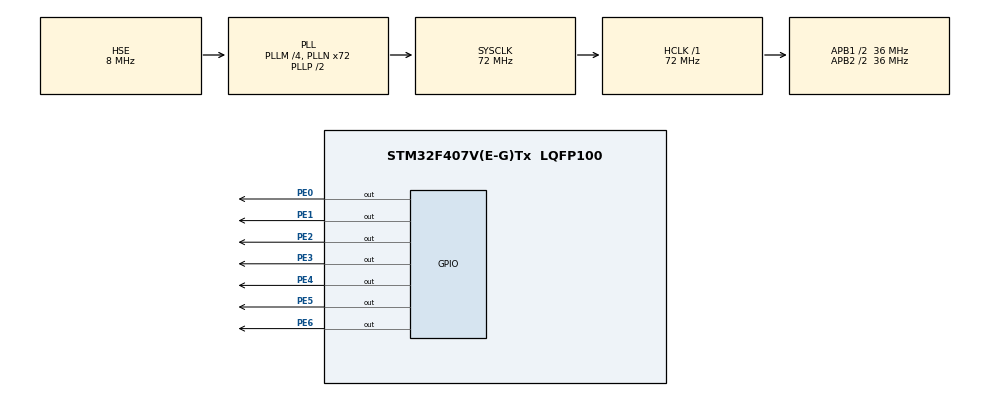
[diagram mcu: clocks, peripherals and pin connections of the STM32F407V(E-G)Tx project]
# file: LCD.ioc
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Mcu.Family=STM32F4
Mcu.Name=STM32F407V(E-G)Tx
Mcu.Package=LQFP100
NVIC.PriorityGroup=NVIC_PRIORITYGROUP_0
PE0.Signal=GPIO_Output
PE1.Signal=GPIO_Output
PE2.Signal=GPIO_Output
PE3.Signal=GPIO_Output
PE4.Signal=GPIO_Output
PE5.Signal=GPIO_Output
PE6.Signal=GPIO_Output
PH0-OSC_IN.Mode=HSE-External-Oscillator
PH0-OSC_IN.Signal=RCC_OSC_IN
PH1-OSC_OUT.Mode=HSE-External-Oscillator
PH1-OSC_OUT.Signal=RCC_OSC_OUT
ProjectManager.HeapSize=0x200
ProjectManager.StackSize=0x400
ProjectManager.TargetToolchain=STM32CubeIDE
RCC.48MHZClocksFreq_Value=20571428.57142857
RCC.AHBFreq_Value=72000000
RCC.APB1CLKDivider=RCC_HCLK_DIV2
RCC.APB1Freq_Value=36000000
RCC.APB1TimFreq_Value=72000000
RCC.APB2CLKDivider=RCC_HCLK_DIV2
RCC.APB2Freq_Value=36000000
RCC.APB2TimFreq_Value=72000000
RCC.CortexFreq_Value=72000000
RCC.HCLKFreq_Value=72000000
RCC.HSE_VALUE=8000000
RCC.HSI_VALUE=16000000
RCC.PLLM=4
RCC.PLLN=72
RCC.PLLQ=7
RCC.PLLSourceVirtual=RCC_PLLSOURCE_HSE
RCC.SYSCLKFreq_VALUE=72000000
RCC.SYSCLKSource=RCC_SYSCLKSOURCE_PLLCLK
RCC.VCOOutputFreq_Value=144000000
TIM1.Period=0xffff-1
TIM1.Prescaler=71
VP_TIM1_VS_ClockSourceINT.Mode=Internal
board=STM32F407G-DISC1

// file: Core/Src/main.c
/* USER CODE BEGIN Header */
/**
  ******************************************************************************
  * @file           : main.c
  * @brief          : Main program body
  ******************************************************************************
  * @attention
  *
  * Copyright (c) 2023 STMicroelectronics.
  * All rights reserved.
  *
  * This software is licensed under terms that can be found in the LICENSE file
  * in the root directory of this software component.
  * If no LICENSE file comes with this software, it is provided AS-IS.
  *
  ******************************************************************************
  */
/* USER CODE END Header */
#include "main.h"

/* USER CODE BEGIN Includes */
#include "stm32f4xx_LCD1602.h"
/* USER CODE END Includes */

TIM_HandleTypeDef htim1;

/* USER CODE BEGIN PV */
int row = 0;
int col = 0;
/* USER CODE END PV */

void SystemClock_Config(void);
static void MX_GPIO_Init(void);
static void MX_TIM1_Init(void);

int main(void)
{

  /* MCU Configuration--------------------------------------------------------*/

  /* Reset of all peripherals, Initializes the Flash interface and the Systick. */
  HAL_Init();

  /* Configure the system clock */
  SystemClock_Config();

  /* Initialize all configured peripherals */
  MX_GPIO_Init();
  MX_TIM1_Init();
  /* USER CODE BEGIN 2 */

  HAL_TIM_Base_Start(&htim1);
  LCD1602_Init();

  LCD1602_Clear();
  	  HAL_Delay(1000);
  	  LCD1602_CursorPosition(0, 0);
  	  LCD1602_TransferString("HELLO ");
  	  LCD1602_TransferString("WORLD ");
  	  LCD1602_TransferString("FROM");
  	  HAL_Delay(1000);
  	  LCD1602_CursorPosition(1, 0);
  	  LCD1602_TransferString("AURIJUS");
  	  HAL_Delay(2000);
  	LCD1602_Clear();
  /* USER CODE END 2 */

  /* Infinite loop */
  /* USER CODE BEGIN WHILE */
  while (1)
  {
	  for(int i = 0 ; i < 128 ; i++)
	  {
		  LCD1602_CursorPosition(row, col);
		  LCD1602_SendData(i + 48);
		  col++;
		  if(col > 15)
		  {
			  col = 0;
			  row++;
		  }

		  if(row > 1)
			  row = 0;

		  HAL_Delay(250);
	  }
    /* USER CODE END WHILE */

  }
}

void SystemClock_Config(void)
{
  RCC_OscInitTypeDef RCC_OscInitStruct = {0};
  RCC_ClkInitTypeDef RCC_ClkInitStruct = {0};

  /** Configure the main internal regulator output voltage
  */
  __HAL_RCC_PWR_CLK_ENABLE();
  __HAL_PWR_VOLTAGESCALING_CONFIG(PWR_REGULATOR_VOLTAGE_SCALE1);

  /** Initializes the RCC Oscillators according to the specified parameters
  * in the RCC_OscInitTypeDef structure.
  */
  RCC_OscInitStruct.OscillatorType = RCC_OSCILLATORTYPE_HSE;
  RCC_OscInitStruct.HSEState = RCC_HSE_ON;
  RCC_OscInitStruct.PLL.PLLState = RCC_PLL_ON;
  RCC_OscInitStruct.PLL.PLLSource = RCC_PLLSOURCE_HSE;
  RCC_OscInitStruct.PLL.PLLM = 4;
  RCC_OscInitStruct.PLL.PLLN = 72;
  RCC_OscInitStruct.PLL.PLLP = RCC_PLLP_DIV2;
  RCC_OscInitStruct.PLL.PLLQ = 7;
  if (HAL_RCC_OscConfig(&RCC_OscInitStruct) != HAL_OK)
  {
    Error_Handler();
  }

  /** Initializes the CPU, AHB and APB buses clocks
  */
  RCC_ClkInitStruct.ClockType = RCC_CLOCKTYPE_HCLK|RCC_CLOCKTYPE_SYSCLK
                              |RCC_CLOCKTYPE_PCLK1|RCC_CLOCKTYPE_PCLK2;
  RCC_ClkInitStruct.SYSCLKSource = RCC_SYSCLKSOURCE_PLLCLK;
  RCC_ClkInitStruct.AHBCLKDivider = RCC_SYSCLK_DIV1;
  RCC_ClkInitStruct.APB1CLKDivider = RCC_HCLK_DIV2;
  RCC_ClkInitStruct.APB2CLKDivider = RCC_HCLK_DIV2;

  if (HAL_RCC_ClockConfig(&RCC_ClkInitStruct, FLASH_LATENCY_2) != HAL_OK)
  {
    Error_Handler();
  }
}

static void MX_TIM1_Init(void)
{

  TIM_ClockConfigTypeDef sClockSourceConfig = {0};
  TIM_MasterConfigTypeDef sMasterConfig = {0};

  htim1.Instance = TIM1;
  htim1.Init.Prescaler = 71;
  htim1.Init.CounterMode = TIM_COUNTERMODE_UP;
  htim1.Init.Period = 0xffff-1;
  htim1.Init.ClockDivision = TIM_CLOCKDIVISION_DIV1;
  htim1.Init.RepetitionCounter = 0;
  htim1.Init.AutoReloadPreload = TIM_AUTORELOAD_PRELOAD_DISABLE;
  if (HAL_TIM_Base_Init(&htim1) != HAL_OK)
  {
    Error_Handler();
  }
  sClockSourceConfig.ClockSource = TIM_CLOCKSOURCE_INTERNAL;
  if (HAL_TIM_ConfigClockSource(&htim1, &sClockSourceConfig) != HAL_OK)
  {
    Error_Handler();
  }
  sMasterConfig.MasterOutputTrigger = TIM_TRGO_RESET;
  sMasterConfig.MasterSlaveMode = TIM_MASTERSLAVEMODE_DISABLE;
  if (HAL_TIMEx_MasterConfigSynchronization(&htim1, &sMasterConfig) != HAL_OK)
  {
    Error_Handler();
  }

}

static void MX_GPIO_Init(void)
{
  GPIO_InitTypeDef GPIO_InitStruct = {0};

  /* GPIO Ports Clock Enable */
  __HAL_RCC_GPIOE_CLK_ENABLE();
  __HAL_RCC_GPIOH_CLK_ENABLE();

  /*Configure GPIO pin Output Level */
  HAL_GPIO_WritePin(GPIOE, GPIO_PIN_2|GPIO_PIN_3|GPIO_PIN_4|GPIO_PIN_5
                          |GPIO_PIN_6|GPIO_PIN_0|GPIO_PIN_1, GPIO_PIN_RESET);

  /*Configure GPIO pins : PE2 PE3 PE4 PE5
                           PE6 PE0 PE1 */
  GPIO_InitStruct.Pin = GPIO_PIN_2|GPIO_PIN_3|GPIO_PIN_4|GPIO_PIN_5
                          |GPIO_PIN_6|GPIO_PIN_0|GPIO_PIN_1;
  GPIO_InitStruct.Mode = GPIO_MODE_OUTPUT_PP;
  GPIO_InitStruct.Pull = GPIO_NOPULL;
  GPIO_InitStruct.Speed = GPIO_SPEED_FREQ_LOW;
  HAL_GPIO_Init(GPIOE, &GPIO_InitStruct);

}

void Error_Handler(void)
{
  __disable_irq();
  while (1)
  {
  }
}
